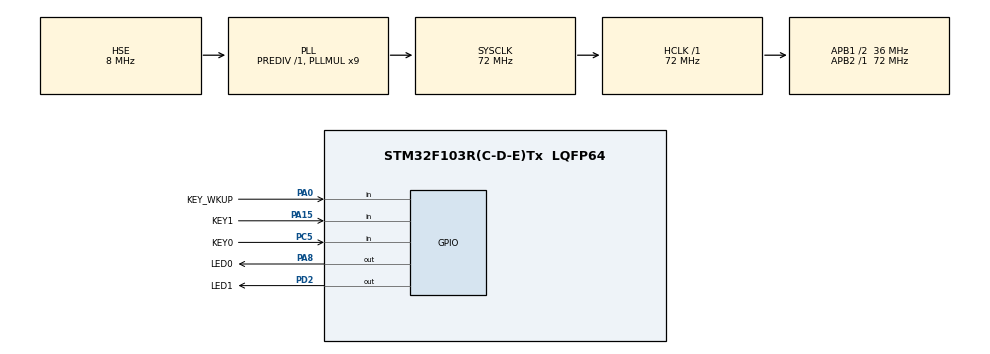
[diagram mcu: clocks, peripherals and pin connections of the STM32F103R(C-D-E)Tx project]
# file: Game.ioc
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Mcu.Family=STM32F1
Mcu.Name=STM32F103R(C-D-E)Tx
Mcu.Package=LQFP64
NVIC.PriorityGroup=NVIC_PRIORITYGROUP_4
NVIC.TIM3_IRQn=true\:1\:0\:true\:false\:true\:true\:true\:true
PA0-WKUP.GPIO_Label=KEY_WKUP
PA0-WKUP.GPIO_PuPd=GPIO_PULLDOWN
PA0-WKUP.Signal=GPIO_Input
PA13.Mode=Serial_Wire
PA13.Signal=SYS_JTMS-SWDIO
PA14.Mode=Serial_Wire
PA14.Signal=SYS_JTCK-SWCLK
PA15.GPIO_Label=KEY1
PA15.GPIO_PuPd=GPIO_PULLUP
PA15.Signal=GPIO_Input
PA8.GPIO_Label=LED0
PA8.PinState=GPIO_PIN_SET
PA8.Signal=GPIO_Output
PC5.GPIO_Label=KEY0
PC5.GPIO_PuPd=GPIO_PULLUP
PC5.Signal=GPIO_Input
PD0-OSC_IN.Mode=HSE-External-Oscillator
PD0-OSC_IN.Signal=RCC_OSC_IN
PD1-OSC_OUT.Mode=HSE-External-Oscillator
PD1-OSC_OUT.Signal=RCC_OSC_OUT
PD2.GPIO_Label=LED1
PD2.PinState=GPIO_PIN_SET
PD2.Signal=GPIO_Output
ProjectManager.HeapSize=0x200
ProjectManager.StackSize=0x400
ProjectManager.TargetToolchain=STM32CubeIDE
RCC.AHBFreq_Value=72000000
RCC.APB1CLKDivider=RCC_HCLK_DIV2
RCC.APB1Freq_Value=36000000
RCC.APB1TimFreq_Value=72000000
RCC.APB2Freq_Value=72000000
RCC.APB2TimFreq_Value=72000000
RCC.HCLKFreq_Value=72000000
RCC.PLLMUL=RCC_PLL_MUL9
RCC.PLLSourceVirtual=RCC_PLLSOURCE_HSE
RCC.SYSCLKFreq_VALUE=72000000
RCC.SYSCLKSource=RCC_SYSCLKSOURCE_PLLCLK
RCC.USBFreq_Value=72000000
TIM3.Period=99
TIM3.Prescaler=7199
VP_TIM3_VS_ClockSourceINT.Mode=Internal
board=custom

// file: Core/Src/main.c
/* USER CODE BEGIN Header */
/**
  ******************************************************************************
  * @file           : main.c
  * @brief          : Main program body
  ******************************************************************************
  * @attention
  *
  * Copyright (c) 2024 STMicroelectronics.
  * All rights reserved.
  *
  * This software is licensed under terms that can be found in the LICENSE file
  * in the root directory of this software component.
  * If no LICENSE file comes with this software, it is provided AS-IS.
  *
  ******************************************************************************
  */
/* USER CODE END Header */
#include "main.h"
#include "tim.h"
#include "gpio.h"

/* USER CODE BEGIN Includes */
#include "stdlib.h"
#include "stdio.h"
#include "string.h"
#include "sys.h"
#include "lcd.h"
#include "touch.h"
#include "delay.h"
#include "image.h"
#include "debounce.h"
/* USER CODE END Includes */

/* USER CODE BEGIN PTD */
typedef enum{
  DAY,
  NIGHT,
  SCENE_COUNT
} Scene;

typedef enum{
  BACKGROUND,
  BIRD,
  CACTUS,
  DINO,
  STAR
} ObjectType;

typedef struct{
  uint16_t* image;
  uint16_t width;
  uint16_t height;
  uint16_t* last_image;
  uint16_t last_width;
  uint16_t last_height;
  uint8_t is_flipped;
  int32_t pos_x;
  int32_t pos_y;
  int32_t last_pos_x;
  int32_t last_pos_y;
  int32_t speed_x;
  int32_t speed_y;
  uint8_t animation_frame;
  uint8_t track;
  ObjectType type;
  uint8_t is_active;
} Object;
/* USER CODE END PTD */

/* USER CODE BEGIN PD */
#define LCD_HEIGHT 240
#define LCD_WIDTH 320
#define SPAWN_ZONE_WIDTH 60
#define BUTTON_NUM 4
#define BUTTON_HEIGHT 45
#define BUTTON_WIDTH (LCD_WIDTH / BUTTON_NUM)
#define BUTTON_TEXT_PRE_WIDTH 15
#define BUTTON_TEXT_PRE_HEIGHT 8
#define TRACK_NUM 3
#define TRACK_HEIGHT ((LCD_HEIGHT - BUTTON_HEIGHT) / TRACK_NUM)

#define BACKGROUND_ADDR 0
#define BACKGOUND_COUNT 6
#define BIRD_ADDR BACKGROUND_ADDR + BACKGOUND_COUNT
#define BIRD_MAX_COUNT 4
#define CACTUS_ADDR BIRD_ADDR + BIRD_MAX_COUNT
#define CACTUS_MAX_COUNT 2
#define STAR_ADDR CACTUS_ADDR + CACTUS_MAX_COUNT
#define STAR_COUNT 1
#define DINO_ADDR STAR_ADDR + STAR_COUNT
#define DINO_COUNT 1
#define OBJECT_COUNT DINO_ADDR + DINO_COUNT

#define MAX_TIME 30
/* USER CODE END PD */

/* USER CODE BEGIN PM */
#define MIN(a, b) ((a) < (b) ? (a) : (b))
#define MAX(a, b) ((a) > (b) ? (a) : (b))
/* USER CODE END PM */

/* USER CODE BEGIN PV */
extern uint64_t timer;
extern uint8_t forward_touch_count;
extern uint8_t backward_touch_count;
extern uint8_t frame_update_flag;
extern uint8_t jump_flag;
extern uint8_t duck_flag;
extern uint8_t up_flag;
extern uint8_t down_flag;

extern Key_HandleTypeDef Key0;
extern Key_HandleTypeDef Key1;
extern Key_HandleTypeDef Key_WKUP;
uint8_t key0_pressed_flag = 0;
uint8_t key1_pressed_flag = 0;
uint8_t key_wkup_pressed_flag = 0;

Scene scene = DAY;
Object* objects[OBJECT_COUNT];
uint8_t is_first_frame;
uint8_t redraw_window[LCD_WIDTH * (LCD_HEIGHT - BUTTON_HEIGHT) / 8];
uint8_t color_bitmap[LCD_WIDTH * (LCD_HEIGHT - BUTTON_HEIGHT) / 8];
uint8_t is_jumping = 0;
uint8_t jumping_countdown = 0;
uint8_t is_ducking = 0;
/* USER CODE END PV */

void SystemClock_Config(void);
/* USER CODE BEGIN PFP */
extern void clear_touch_history();

void LCD_SetImage(uint16_t x, uint16_t y, uint16_t w, uint16_t h, uint16_t *image, uint8_t is_flipped);
void LCD_DrawWindow();
void init_scene();
void init_buttons();
void change_scene();
void generate_scene();
void update_scene();
void draw_scene();
/* USER CODE END PFP */

int main(void)
{

  /* MCU Configuration--------------------------------------------------------*/

  /* Reset of all peripherals, Initializes the Flash interface and the Systick. */
  HAL_Init();

  /* Configure the system clock */
  SystemClock_Config();

  /* USER CODE BEGIN SysInit */
  delay_init(72);
  LCD_Init();
  LCD_Display_Dir(1);
  tp_dev.init();
  /* USER CODE END SysInit */

  /* Initialize all configured peripherals */
  MX_GPIO_Init();
  MX_TIM3_Init();
  /* USER CODE BEGIN 2 */
  __HAL_TIM_CLEAR_IT(&htim3,TIM_IT_UPDATE);
  HAL_TIM_Base_Start_IT(&htim3);
  Debounce_InitKey0();
  Debounce_InitKey1();
  Debounce_InitKeyWKUP();

  init_buttons();
  init_scene();
  generate_scene();
  /* USER CODE END 2 */

  /* Infinite loop */
  while (1)
  {

    /* USER CODE BEGIN 3 */
    key0_pressed_flag = Debounce_ReadPress(&Key0);
    key1_pressed_flag = Debounce_ReadPress(&Key1);
    key_wkup_pressed_flag = Debounce_ReadPress(&Key_WKUP);

    if(key0_pressed_flag){
      change_scene();
    }

    update_scene();
  }
  /* USER CODE END 3 */
}

void SystemClock_Config(void)
{
  RCC_OscInitTypeDef RCC_OscInitStruct = {0};
  RCC_ClkInitTypeDef RCC_ClkInitStruct = {0};

  /** Initializes the RCC Oscillators according to the specified parameters
  * in the RCC_OscInitTypeDef structure.
  */
  RCC_OscInitStruct.OscillatorType = RCC_OSCILLATORTYPE_HSE;
  RCC_OscInitStruct.HSEState = RCC_HSE_ON;
  RCC_OscInitStruct.HSEPredivValue = RCC_HSE_PREDIV_DIV1;
  RCC_OscInitStruct.HSIState = RCC_HSI_ON;
  RCC_OscInitStruct.PLL.PLLState = RCC_PLL_ON;
  RCC_OscInitStruct.PLL.PLLSource = RCC_PLLSOURCE_HSE;
  RCC_OscInitStruct.PLL.PLLMUL = RCC_PLL_MUL9;
  if (HAL_RCC_OscConfig(&RCC_OscInitStruct) != HAL_OK)
  {
    Error_Handler();
  }

  /** Initializes the CPU, AHB and APB buses clocks
  */
  RCC_ClkInitStruct.ClockType = RCC_CLOCKTYPE_HCLK|RCC_CLOCKTYPE_SYSCLK
                              |RCC_CLOCKTYPE_PCLK1|RCC_CLOCKTYPE_PCLK2;
  RCC_ClkInitStruct.SYSCLKSource = RCC_SYSCLKSOURCE_PLLCLK;
  RCC_ClkInitStruct.AHBCLKDivider = RCC_SYSCLK_DIV1;
  RCC_ClkInitStruct.APB1CLKDivider = RCC_HCLK_DIV2;
  RCC_ClkInitStruct.APB2CLKDivider = RCC_HCLK_DIV1;

  if (HAL_RCC_ClockConfig(&RCC_ClkInitStruct, FLASH_LATENCY_2) != HAL_OK)
  {
    Error_Handler();
  }
}

/* USER CODE BEGIN 4 */
void LCD_SetImage(uint16_t x, uint16_t y, uint16_t w, uint16_t h, uint16_t *image, uint8_t is_flipped){
  if(is_flipped){
    for(int i = 0; i < h; i++){
      for(int j = 0; j < w; j++){
        uint16_t flipped_j = w - 1 - j;
        uint32_t bit = (y + i) * LCD_WIDTH + x + flipped_j;
        if(x + flipped_j >= LCD_WIDTH || y + i >= (LCD_HEIGHT - BUTTON_HEIGHT) || !(redraw_window[bit / 8] & (1 << (bit % 8)))){
          continue;
        }
        if(image[i * w + j] != IMG_BG){
          if(image[i * w + j] == IMG_BLACK){
            color_bitmap[bit / 8] |= 1 << (bit % 8);
          }else{
            color_bitmap[bit / 8] &= ~(1 << (bit % 8));
          }
        }
      }
    }
  }else{
    for(int i = 0; i < h; i++){
      for(int j = 0; j < w; j++){
        uint32_t bit = (y + i) * LCD_WIDTH + x + j;
        if(x + j >= LCD_WIDTH || y + i >= (LCD_HEIGHT - BUTTON_HEIGHT) || !(redraw_window[bit / 8] & (1 << (bit % 8)))){
          continue;
        }
        if(image[i * w + j] != IMG_BG){
          if(image[i * w + j] == IMG_BLACK){
            color_bitmap[bit / 8] |= 1 << (bit % 8);
          }else{
            color_bitmap[bit / 8] &= ~(1 << (bit % 8));
          }
        }
      }
    }
  }
}

void LCD_DrawWindow(){
  for(int i = 0; i < LCD_HEIGHT - BUTTON_HEIGHT; i++){
    for(int j = 0; j < LCD_WIDTH; j++){
      uint32_t bit = i * LCD_WIDTH + j;
      if(redraw_window[bit / 8] & (1 << (bit % 8))){
        LCD_Fast_DrawPoint(j, i, color_bitmap[bit / 8] & (1 << (bit % 8)) ? (scene == DAY ? IMG_BLACK : IMG_WHITE) : (scene == DAY ? IMG_WHITE : IMG_BLACK));
      }
    }
  }
}

void init_scene(){
  for(int i = 0; i < OBJECT_COUNT; i++){
    objects[i] = (Object *)malloc(sizeof(Object));
    objects[i]->is_active = 0;
    if(i < BACKGROUND_ADDR + BACKGOUND_COUNT){
      objects[i]->type = BACKGROUND;
    }else if(i < BIRD_ADDR + BIRD_MAX_COUNT){
      objects[i]->type = BIRD;
    }else if(i < CACTUS_ADDR + CACTUS_MAX_COUNT){
      objects[i]->type = CACTUS;
    }else if(i < DINO_ADDR + DINO_COUNT){
      objects[i]->type = DINO;
    }else{
      objects[i]->type = STAR;
    }
  }
}

void init_buttons(){
  POINT_COLOR = IMG_BLACK;
  LCD_Fill(0, LCD_HEIGHT - BUTTON_HEIGHT, LCD_WIDTH, LCD_HEIGHT, LIGHTBLUE);
  BACK_COLOR = LIGHTBLUE;
  LCD_ShowString(BUTTON_TEXT_PRE_WIDTH, LCD_HEIGHT - BUTTON_HEIGHT + BUTTON_TEXT_PRE_HEIGHT, BUTTON_WIDTH, BUTTON_HEIGHT, 24, (uint8_t*)"Jump");
  LCD_Fill(BUTTON_WIDTH, LCD_HEIGHT - BUTTON_HEIGHT, BUTTON_WIDTH * 2, LCD_HEIGHT, YELLOW);
  BACK_COLOR = YELLOW;
  LCD_ShowString(BUTTON_TEXT_PRE_WIDTH + BUTTON_WIDTH, LCD_HEIGHT - BUTTON_HEIGHT + BUTTON_TEXT_PRE_HEIGHT, BUTTON_WIDTH, BUTTON_HEIGHT, 24, (uint8_t*)"Duck");
  LCD_Fill(BUTTON_WIDTH * 2, LCD_HEIGHT - BUTTON_HEIGHT, BUTTON_WIDTH * 3, LCD_HEIGHT, BRRED);
  BACK_COLOR = BRRED;
  LCD_ShowString(BUTTON_TEXT_PRE_WIDTH + BUTTON_WIDTH * 2, LCD_HEIGHT - BUTTON_HEIGHT + BUTTON_TEXT_PRE_HEIGHT, BUTTON_WIDTH, BUTTON_HEIGHT, 24, (uint8_t*)" Up ");
  LCD_Fill(BUTTON_WIDTH * 3, LCD_HEIGHT - BUTTON_HEIGHT, BUTTON_WIDTH * 4, LCD_HEIGHT, CYAN);
  BACK_COLOR = CYAN;
  LCD_ShowString(BUTTON_TEXT_PRE_WIDTH + BUTTON_WIDTH * 3, LCD_HEIGHT - BUTTON_HEIGHT + BUTTON_TEXT_PRE_HEIGHT, BUTTON_WIDTH, BUTTON_HEIGHT, 24, (uint8_t*)"Down");
}

void generate_scene(){
  srand(timer);
  uint8_t random;

  /* Reset all objects */
  for(int i = 0; i < OBJECT_COUNT; i++){
    objects[i]->is_active = 0;
  }

  /* Dino */
  Object* dino = objects[DINO_ADDR];
  dino->image = (uint16_t *)dino_mid;
  dino->width = DINO_WIDTH;
  dino->height = DINO_HEIGHT;
  dino->is_flipped = 0;
  if(dino->track < 1 || dino->track > 3){
    dino->track = 2;
  }
  dino->pos_x = (SPAWN_ZONE_WIDTH - DINO_WIDTH) / 2;
  dino->pos_y = dino->track * TRACK_HEIGHT;
  dino->speed_x = 0;
  dino->speed_y = 0;
  dino->animation_frame = 0;
  dino->is_active = 1;
  is_jumping = 0;
  is_ducking = 0;
  jumping_countdown = 0;

  /* Star */
  Object* star = objects[STAR_ADDR];
  if(scene == DAY){
    star->image = (uint16_t *)sun;
    star->width = SUN_WIDTH;
    star->height = SUN_HEIGHT;
  }else{
    star->image = (uint16_t *)moon;
    star->width = MOON_WIDTH;
    star->height = MOON_HEIGHT;
  }
  star->is_flipped = 0;
  star->pos_x = LCD_WIDTH - star->width;
  star->pos_y = star->height;
  star->is_active = 1;

  /* Background */
  Object* background;
  for(int i = BACKGROUND_ADDR; i < BACKGROUND_ADDR + BACKGOUND_COUNT; i++){
    background = objects[i];
    random = rand() % 2; // 0: horizon, 1: mountain
    if(random == 0){
      random = rand() % 3 + 1;
      if(random == 1){
        background->image = (uint16_t *)horizon_1;
      }else if(random == 2){
        background->image = (uint16_t *)horizon_2;
      }else{
        background->image = (uint16_t *)horizon_3;
      }
      background->width = HORIZON_WIDTH;
      background->height = HORIZON_HEIGHT;
    }else{
      random = rand() % 2 + 1;
      if(random == 1){
        background->image = (uint16_t *)mountain_1;
      }else{
        background->image = (uint16_t *)mountain_2;
      }
      background->width = MOUNTAIN_WIDTH;
      background->height = MOUNTAIN_HEIGHT;
    }
    background->is_flipped = rand() % 2;
    background->pos_x = i % 2 == 0 ? 0 : LCD_WIDTH - background->width;
    background->pos_y = (i % 3 + 1) * TRACK_HEIGHT;
    background->is_active = 1;
  }

  /* Bird */
  Object* bird;
  uint8_t bird_num = rand() % (BIRD_MAX_COUNT + 1);
  for(int i = BIRD_ADDR; i < BIRD_ADDR + bird_num; i++){
    bird = objects[i];
    random = rand() % 2;
    if(random == 0){
      bird->image = (uint16_t *)bird_1;
      bird->animation_frame = 0;
    }else{
      bird->image = (uint16_t *)bird_2;
      bird->animation_frame = 1;
    }
    bird->width = BIRD_WIDTH;
    bird->height = BIRD_HEIGHT;
    bird->is_flipped = rand() % 2;
    bird->track = rand() % TRACK_NUM + 1;
    bird->pos_x = SPAWN_ZONE_WIDTH + rand() % (LCD_WIDTH - SPAWN_ZONE_WIDTH - bird->width);
    bird->pos_y = (bird->track - 1) * TRACK_HEIGHT + BIRD_HEIGHT;
    bird->is_active = 1;
  }

  /* Cactus */
  Object* cactus;
  uint8_t cactus_num = rand() % (CACTUS_MAX_COUNT + 1);
  for(int i = CACTUS_ADDR; i < CACTUS_ADDR + cactus_num; i++){
    cactus = objects[i];
    random = rand() % 3 + 1;
  if(random == 1){
      cactus->image = (uint16_t *)cactus_small_1;
      cactus->width = CACTUS_SMALL_1_WIDTH;
      cactus->height = CACTUS_SMALL_1_HEIGHT;
    }else if(random == 2){
      cactus->image = (uint16_t *)cactus_small_2;
      cactus->width = CACTUS_SMALL_2_WIDTH;
      cactus->height = CACTUS_SMALL_2_HEIGHT;
    }else{
      cactus->image = (uint16_t *)cactus_small_3;
      cactus->width = CACTUS_SMALL_3_WIDTH;
      cactus->height = CACTUS_SMALL_3_HEIGHT;
    }
    cactus->is_flipped = rand() % 2;
    cactus->track = rand() % TRACK_NUM + 1;
    cactus->pos_x = SPAWN_ZONE_WIDTH + rand() % (LCD_WIDTH - SPAWN_ZONE_WIDTH - cactus->width);
    cactus->pos_y = cactus->track * TRACK_HEIGHT;
    cactus->is_active = 1;
  }

  is_first_frame = 1;
}

void update_scene(){
  if(!frame_update_flag){
    return;
  }
  frame_update_flag = 0;

  Object* bird;
  for(int i = BIRD_ADDR; i < BIRD_ADDR + BIRD_MAX_COUNT; i++){
    bird = objects[i];
    if(bird->is_active){
      if(bird->animation_frame == 0){
        bird->image = (uint16_t *)bird_2;
        bird->animation_frame = 1;
      }else{
        bird->image = (uint16_t *)bird_1;
        bird->animation_frame = 0;
      }
    }
  }

  Object* dino = objects[DINO_ADDR];
  dino->last_image = dino->image;
  dino->last_width = dino->width;
  dino->last_height = dino->height;
  dino->last_pos_x = dino->pos_x;
  dino->last_pos_y = dino->pos_y;

  dino->speed_x = (forward_touch_count - backward_touch_count) * 5;
  if(dino->speed_x > 0){
    dino->is_flipped = 0;
  }else if(dino->speed_x < 0){
    dino->is_flipped = 1;
  }

  if(up_flag){
    dino->track = MAX(1, dino->track - 1);
    dino->speed_y = -10;
  }else if(down_flag){
    dino->track = MIN(TRACK_NUM, dino->track + 1);
    dino->speed_y = 10;
  }
  up_flag = 0;
  down_flag = 0;

  if(duck_flag){
    is_ducking = !is_ducking;
    duck_flag = 0;
  }

  jumping_countdown = MAX(0, jumping_countdown - 1);
  if(jumping_countdown > 0){
	  if(jumping_countdown == 1){
		  is_jumping = 0;
	  }
	  if(jumping_countdown < 30 && jumping_countdown >= 27){
		  dino->pos_y = dino->pos_y - 5;
	  }
	  if(jumping_countdown < 3 && jumping_countdown >= 1){
		  dino->pos_y = dino->pos_y + 5;
	  }
  }

  if(jump_flag && !is_jumping){
    is_jumping = 1;
    jumping_countdown = 30;
  }
  jump_flag = 0;

  dino->pos_x = MAX(0, MIN(LCD_WIDTH - dino->width, dino->pos_x + dino->speed_x));
  dino->pos_y = dino->pos_y + dino->speed_y;

  uint8_t is_out_of_range = dino->pos_y - dino->height < 0 || dino->pos_y > LCD_HEIGHT - BUTTON_HEIGHT;
  uint8_t has_collision = 0;
  uint8_t restart_x = 0;
  for(int i = BIRD_ADDR; i < BIRD_ADDR + BIRD_MAX_COUNT; i++){
    bird = objects[i];
    if(bird->is_active && bird->track == dino->track){
      if(((dino->pos_x >= bird->pos_x && dino->pos_x <= bird->pos_x + bird->width) || (dino->pos_x + dino->width >= bird->pos_x && dino->pos_x + dino->width <= bird->pos_x + bird->width)) && ((dino->pos_y >= bird->pos_y - bird->height && dino->pos_y <= bird->pos_y) || (dino->pos_y - dino->height >= bird->pos_y - bird->height && dino->pos_y - dino->height <= bird->pos_y)) && !is_ducking){
        restart_x = MAX(0, bird->pos_x - dino->width - 1);
        has_collision = 1;
        break;
      }
    }
  }
  for(int i = CACTUS_ADDR; i < CACTUS_ADDR + CACTUS_MAX_COUNT; i++){
    Object* cactus = objects[i];
    if(cactus->is_active && cactus->track == dino->track){
      if(((dino->pos_x >= cactus->pos_x && dino->pos_x <= cactus->pos_x + cactus->width) || (dino->pos_x + dino->width >= cactus->pos_x && dino->pos_x + dino->width <= cactus->pos_x + cactus->width)) && ((dino->pos_y >= cactus->pos_y - cactus->height && dino->pos_y <= cactus->pos_y) || (dino->pos_y - dino->height >= cactus->pos_y - cactus->height && dino->pos_y - dino->height <= cactus->pos_y)) && !is_jumping){
        restart_x = MAX(0, cactus->pos_x - dino->width - 1);
        has_collision = 1;
        break;
      }
    }
  }

  if(is_out_of_range || has_collision){
    if(has_collision){
      dino->pos_x = restart_x;
    }
    is_ducking = 0;
    is_jumping = 0;
    jumping_countdown = 0;
    dino->pos_y = dino->track * TRACK_HEIGHT;
    dino->speed_x = 0;
    dino->speed_y = 0;
    dino->image = (uint16_t *)dino_dead;
    dino->width = DINO_DEAD_WIDTH;
    dino->height = DINO_DEAD_HEIGHT;
    dino->animation_frame = 0;

    clear_touch_history();
  }else{
    if((dino->speed_x == 0 && dino->speed_y == 0) || dino->last_image == (uint16_t *)dino_dead || is_jumping){
      dino->image = (uint16_t *)dino_mid;
      dino->width = DINO_WIDTH;
      dino->height = DINO_HEIGHT;
      dino->animation_frame = 0;
    }else{
      if(abs(dino->pos_y - dino->track * TRACK_HEIGHT) <= 5){
        dino->speed_y = 0;
        dino->pos_y = dino->track * TRACK_HEIGHT;
      }
      if(is_ducking){
        if(dino->animation_frame == 0){
          dino->image = (uint16_t *)dino_duck_left;
          dino->animation_frame = 1;
        }else{
          dino->image = (uint16_t *)dino_duck_right;
          dino->animation_frame = 0;
        }
        dino->width = DINO_DUCK_WIDTH;
        dino->height = DINO_DUCK_HEIGHT;
      }else{
        if(dino->animation_frame == 0){
          dino->image = (uint16_t *)dino_left;
          dino->animation_frame = 1;
        }else{
          dino->image = (uint16_t *)dino_right;
          dino->animation_frame = 0;
        }
        dino->width = DINO_WIDTH;
        dino->height = DINO_HEIGHT;
      }
    }
  }

  draw_scene();

  if(dino->pos_x + dino->width == LCD_WIDTH && dino->speed_x > 0){
    generate_scene();
  }
}

void draw_scene(){

  if(is_first_frame){
    is_first_frame = 0;

    BACK_COLOR = scene == DAY ? IMG_WHITE : IMG_BLACK;
    POINT_COLOR = scene == DAY ? IMG_BLACK : IMG_WHITE;
    LCD_Fill(0, 0, LCD_WIDTH, LCD_HEIGHT - BUTTON_HEIGHT, BACK_COLOR);

    memset(redraw_window, 0xFF, sizeof(redraw_window));
  }else{
    memset(redraw_window, 0x00, sizeof(redraw_window));

    Object* bird;
    for(int i = BIRD_ADDR; i < BIRD_ADDR + BIRD_MAX_COUNT; i++){
      bird = objects[i];
      if(bird->is_active){
        for(int j = bird->pos_x; j < bird->pos_x + bird->width; j++){
          for(int k = bird->pos_y - bird->height; k < bird->pos_y; k++){
            uint32_t bit = k * LCD_WIDTH + j;
            redraw_window[bit / 8] |= 1 << (bit % 8);
          }
        }
      }
    }

    Object* dino = objects[DINO_ADDR];
    for(int i = dino->last_pos_x; i < dino->last_pos_x + dino->last_width; i++){
      for(int j = dino->last_pos_y - dino->last_height; j < dino->last_pos_y; j++){
        uint32_t bit = j * LCD_WIDTH + i;
        redraw_window[bit / 8] |= 1 << (bit % 8);
      }
    }
    for(int i = dino->pos_x; i < dino->pos_x + dino->width; i++){
      for(int j = dino->pos_y - dino->height; j < dino->pos_y; j++){
        uint32_t bit = j * LCD_WIDTH + i;
        redraw_window[bit / 8] |= 1 << (bit % 8);
      }
    }
  }

  static char time_str[20];
  sprintf(time_str, "Time: %d.%d", (int)(timer / 1000), (int)(timer % 1000));
  POINT_COLOR = timer < MAX_TIME * 1000 ? scene == DAY ? IMG_BLACK : IMG_WHITE : RED;
  LCD_ShowString(0, 0, 320, 16, 16, (uint8_t *)time_str);
  POINT_COLOR = scene == DAY ? IMG_BLACK : IMG_WHITE;

  memset(color_bitmap, 0x00, sizeof(color_bitmap));

  Object* object;
  for(int i = 0; i < OBJECT_COUNT; i++){
    object = objects[i];
    if(object->is_active){
      LCD_SetImage(object->pos_x, object->pos_y - object->height, object->width, object->height, object->image, object->is_flipped);
    }
  }

  LCD_DrawWindow();
}

void change_scene(){
  scene = (scene + 1) % SCENE_COUNT;
  is_first_frame = 1;

  Object* star = objects[STAR_ADDR];
  if(scene == DAY){
    star->image = (uint16_t *)sun;
    star->width = SUN_WIDTH;
    star->height = SUN_HEIGHT;
  }else{
    star->image = (uint16_t *)moon;
    star->width = MOON_WIDTH;
    star->height = MOON_HEIGHT;
  }
  star->pos_x = LCD_WIDTH - star->width;
}
/* USER CODE END 4 */

void Error_Handler(void)
{
  __disable_irq();
  while (1)
  {
  }
}
